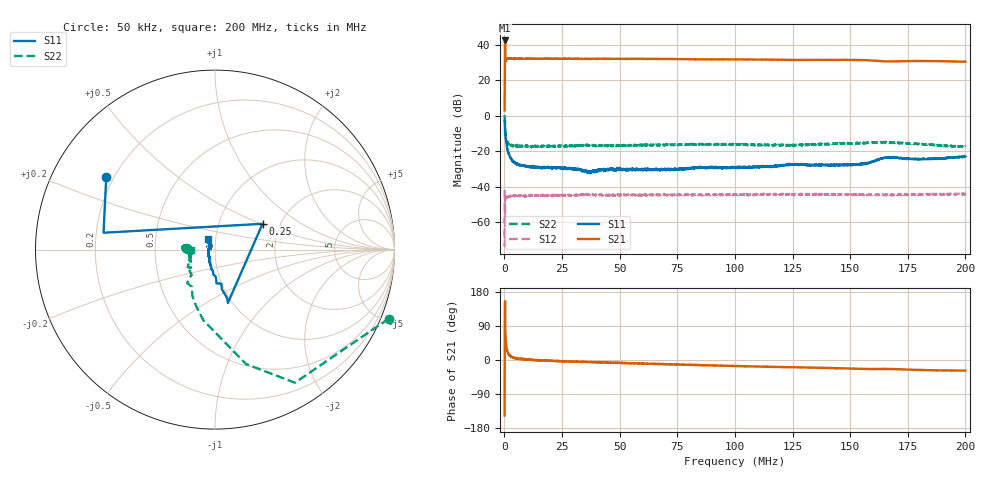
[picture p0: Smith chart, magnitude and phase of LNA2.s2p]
! 19-Feb-26 2:46:58 PM
! E:\VNA_MEASUREMENTS\RECBLOCK\LNA2.S2P
! CHANNEL.1
! TR.MEASUREMENT
! CORRECTED.DATA
# GHZ S RI R 50.0
! FREQ.GHZ  S11RE  S11IM  S21RE  S21IM  S12RE  S12IM  S22RE  S22IM
!; PortSelection: Port_12
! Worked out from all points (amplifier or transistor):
!   2000 points, 50 kHz to 200 MHz, reference 50 ohm
!   highest |S21| = 42.4 dB at 250 kHz (marker M1)
!   |S21| within 3 dB of that: 232.5 kHz to 275 kHz (42.51 kHz wide, 16.8 % of centre)
!   unconditionally stable (mu >= 1): 76.86 kHz to 213.1 kHz; 262.3 kHz to end of sweep
!   at 33.36 MHz: K = 2.15, MAG = 32.2 dB, |S12| = -44.4 dB
!   at 100.1 MHz: K = 2.23, MAG = 31.9 dB, |S12| = -44.5 dB
!   at 200 MHz: K = 2.48, MAG = 30.6 dB, |S12| = -44.2 dB
!   S11 on the Smith chart (normalised r, x): 50 kHz: 0.17, +0.29; 250 kHz: 1.62, +0.51; 200 MHz: 0.92, +0.11
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5e-05  -0.6059 0.4041  -1.18 -0.7789  0.0073 0.00337  0.9678 -0.3846
0.00025005  0.265 0.1437  -120.3 55.68  -0.00212 0.000898  0.173 -0.6378
0.000950225  0.0028 -0.1482  34.58 20.72  0.00472 0.00245  -0.1301 -0.1408
0.001150275  -0.0105 -0.1217  36.67 17.83  0.00458 0.00246  -0.145 -0.1106
0.0012503  -0.0175 -0.1104  35.99 15.86  0.00519 0.00249  -0.1389 -0.0938
0.001350325  -0.0209 -0.1105  38.61 15.33  0.00483 0.00164  -0.1341 -0.1015
0.00145035  -0.021 -0.098  37.58 13.93  0.00454 0.00178  -0.1525 -0.098
0.00185045  -0.0244 -0.085  40.95 9.506  0.00509 0.00152  -0.1366 -0.071
0.00265065  -0.0331 -0.0566  40.55 6.742  0.0052 0.000999  -0.141 -0.053
0.0036509  -0.0301 -0.0399  40.93 4.33  0.00556 0.00105  -0.1325 -0.031
0.004751176  -0.0333 -0.0286  40.67 3.389  0.00549 0.000758  -0.1374 -0.0258
0.009152276  -0.0363 -0.0119  40.61 1.058  0.00557 0.000247  -0.1396 -0.018
0.01585395  -0.0346 -0.0015  40.91 -0.7706  0.00556 0.000357  -0.1356 -0.0107
0.03345835  -0.0277 0.0112  40.11 -3.436  0.00585 3.43e-05  -0.1456 -0.012
0.06676668  -0.0258 0.0152  39.14 -7.431  0.00574 -0.000258  -0.152 -0.0151
0.100075  -0.0274 0.0211  37.32 -10.69  0.00589 -0.000642  -0.1567 -0.00107
0.1333833  -0.0279 0.029  35.23 -12.94  0.00595 -0.000939  -0.1554 -0.0139
0.1524881  -0.0264 0.0333  34.28 -14.61  0.00584 -0.00116  -0.1694 -0.00492
0.1586897  -0.031 0.0367  33.35 -14.56  0.00586 -0.00136  -0.1703 -0.000502
0.1666917  -0.0452 0.0481  31.11 -13.64  0.00564 -0.0015  -0.1791 0.0106
0.183896  -0.037 0.049  31.08 -15.62  0.00582 -0.00156  -0.1558 0.0223
0.2  -0.0364 0.0607  29.57 -15.62  0.00591 -0.00162  -0.1337 -0.000742
